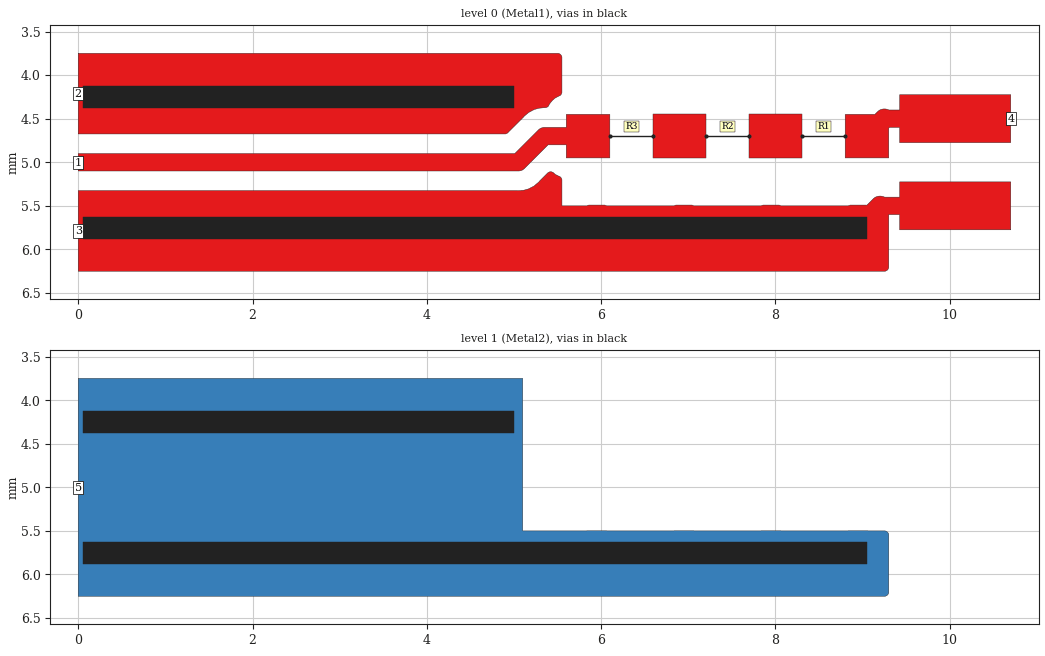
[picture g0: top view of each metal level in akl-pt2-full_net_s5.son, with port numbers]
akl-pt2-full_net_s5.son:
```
FTYP SONPROJ 18 ! Sonnet Project File
VER 17.56
HEADER
LIC antikernel2.1.50150 3cfdfeabd719 havequick azonenberg Level2Silver
DAT 12/24/2020 02:23:57
BUILT_BY_CREATED xgeom 17.56 12/23/2020 09:12:10
BUILT_BY_SAVED sonnet 17.56
MDATE 12/24/2020 02:23:57
HDATE 12/24/2020 02:23:57
ANN Created by dxfgeo, Sonnet Software Inc.
END HEADER
DIM
ANG DEG
CAP PF
CON /OH
FREQ GHZ
IND NH
LNG MM
RES OH
END DIM
CONTROL
ABS
OPTIONS  -dj
SPEED 1
CACHE_ABS 1
Q_ACC N
END CONTROL
GEO
TMET "Free Space" 0 FREESPACE 376.7303136 0 0 0
BMET "Free Space" 0 FREESPACE 376.7303136 0 0 0
MET "Copper 1oz thick" 1 TMM 58000000 0.5 0.035 2
MET "Copper 1oz" 2 NOR 58000000 0.5 0.035 
BOX 2 10.7 10 428 800 20 0
      1 1 1 0 0 0 0 "Air"
      0.1 3.5 1 0.003 0 0 0 "Polyimide"
      1 1 1 0 0 0 0 "Air"
TECHLAY METAL Metal1 L1D0 -2 0 
0 0 0 T 1218 1 1 100 100 0 0 0 Y
END
END
TECHLAY METAL Metal2 L2D0 -3 0 
1 0 1 N 1231 1 1 100 100 0 0 0 Y
END
END
TECHLAY VIA Via1 L3D0 -4 0 
VIA POLYGON
1 0 -1 N 1234 1 1 100 100 0 0 0 Y
TOLEVEL 0 RING NOCOVERS
END
END
LORGN 0 160 U 
POR1 BOX
POLY 1187 1
24
1 50 0 0 0 0 5 
POR1 BOX
POLY 1191 1
56
2 50 0 0 0 0 4.2125 
POR1 BOX
POLY 1193 1
91
3 50 0 0 0 0 5.7875 
POR1 BOX
POLY 1195 1
4
4 50 0 0 0 10.7 4.5 
POR1 BOX
POLY 1197 1
43
5 50 0 0 0 0 5 
SMD 0 "R1"
ID 1201
GNDREF AUTO
SBOX 8.425 8.675 4.6625 4.7375
PBSHW N
LPOS 8.55 4.6625
TYPE IDEAL RES 200
SMDP 0 8.8 4.7 R 6 1 
EXSMDP
GNDREF AUTO
TERMW FEED
END EXSMDP
SMDP 0 8.3 4.7 L 7 2 
EXSMDP
GNDREF AUTO
TERMW FEED
END EXSMDP
END
SMD 0 "R2"
ID 1204
GNDREF AUTO
SBOX 7.325 7.575 4.6625 4.7375
PBSHW N
LPOS 7.45 4.6625
TYPE IDEAL RES 200
SMDP 0 7.7 4.7 R 8 1 
EXSMDP
GNDREF AUTO
TERMW FEED
END EXSMDP
SMDP 0 7.2 4.7 L 9 2 
EXSMDP
GNDREF AUTO
TERMW FEED
END EXSMDP
END
SMD 0 "R3"
ID 1207
GNDREF AUTO
SBOX 6.225 6.475 4.6625 4.7375
PBSHW N
LPOS 6.35 4.6625
TYPE IDEAL RES 50
SMDP 0 6.6 4.7 R 10 1 
EXSMDP
GNDREF AUTO
TERMW FEED
END EXSMDP
SMDP 0 6.1 4.7 L 11 2 
EXSMDP
GNDREF AUTO
TERMW FEED
END EXSMDP
END
NUM 9
0 27 0 T 1187 1 1 100 100 0 0 0 Y
TLAYNAM Metal1 INH
USER_DAT FromImport
5.009 4.9
5.283 4.626
5.29 4.62
5.299 4.614
5.307 4.609
5.316 4.606
5.326 4.603
5.335 4.601
5.345 4.6
5.6 4.6
5.6 4.45
6.1 4.45
6.1 4.95
5.6 4.95
5.6 4.8
5.391 4.8
5.117 5.074
5.11 5.08
5.101 5.086
5.093 5.091
5.084 5.094
5.074 5.097
5.065 5.099
5.055 5.1
0 5.1
0 4.9
5.009 4.9
END
0 5 0 T 1189 1 1 100 100 0 0 0 Y
TLAYNAM Metal1 INH
USER_DAT FromImport
6.6 4.95
6.6 4.45
7.2 4.45
7.2 4.95
6.6 4.95
END
0 5 0 T 1190 1 1 100 100 0 0 0 Y
TLAYNAM Metal1 INH
USER_DAT FromImport
7.7 4.95
7.7 4.45
8.3 4.45
8.3 4.95
7.7 4.95
END
0 60 0 T 1191 1 1 100 100 0 0 0 Y
TLAYNAM Metal1 INH
4.907 4.674
4.912 4.672
4.916 4.67
4.921 4.668
4.929 4.662
4.932 4.659
4.935 4.655
5.102 4.489
5.109 4.482
5.115 4.474
5.119 4.47
5.171 4.427
5.23 4.396
5.232 4.395
5.285 4.38
5.334 4.375
5.339 4.375
5.343 4.374
5.363 4.374
5.368 4.373
5.373 4.371
5.377 4.369
5.382 4.367
5.39 4.361
5.393 4.358
5.399 4.35
5.401 4.345
5.403 4.341
5.405 4.336
5.408 4.33
5.443 4.288
5.471 4.264
5.512 4.242
5.516 4.24
5.517 4.24
5.521 4.238
5.526 4.236
5.534 4.23
5.537 4.227
5.543 4.219
5.545 4.214
5.547 4.21
5.549 4.205
5.55 4.2
5.55 3.793
5.549 3.788
5.547 3.783
5.545 3.779
5.543 3.774
5.537 3.766
5.534 3.763
5.526 3.757
5.521 3.755
5.517 3.753
5.512 3.751
5.507 3.75
0 3.75
0 4.675
4.902 4.675
4.907 4.674
END
0 94 0 T 1193 1 1 100 100 0 0 0 Y
TLAYNAM Metal1 INH
9.257 6.25
9.262 6.249
9.267 6.247
9.271 6.245
9.276 6.243
9.284 6.237
9.287 6.234
9.293 6.226
9.295 6.221
9.297 6.217
9.299 6.212
9.3 6.207
9.3 5.6
9.425 5.6
9.425 5.775
10.7 5.775
10.7 5.225
9.425 5.225
9.425 5.4
9.252 5.4
9.248 5.398
9.238 5.394
9.227 5.391
9.217 5.389
9.206 5.388
9.194 5.388
9.183 5.389
9.173 5.391
9.162 5.394
9.152 5.398
9.142 5.403
9.124 5.417
9.048 5.493
9.043 5.491
8.857 5.491
8.834 5.5
8.065 5.5
8.043 5.491
7.857 5.491
7.834 5.5
7.065 5.5
7.043 5.491
6.857 5.491
6.834 5.5
6.065 5.5
6.043 5.491
5.857 5.491
5.834 5.5
5.55 5.5
5.55 5.2
5.549 5.195
5.545 5.185
5.543 5.181
5.537 5.173
5.534 5.17
5.533 5.17
5.53 5.167
5.526 5.164
5.525 5.164
5.524 5.163
5.521 5.161
5.517 5.16
5.512 5.158
5.51 5.158
5.506 5.156
5.476 5.14
5.458 5.125
5.455 5.122
5.447 5.116
5.442 5.114
5.438 5.112
5.433 5.11
5.428 5.109
5.414 5.109
5.409 5.11
5.404 5.112
5.4 5.114
5.395 5.116
5.387 5.122
5.291 5.218
5.285 5.226
5.281 5.23
5.229 5.273
5.17 5.304
5.168 5.305
5.115 5.32
5.066 5.325
5.061 5.325
5.057 5.326
5.041 5.326
5.039 5.325
0 5.325
0 6.25
9.257 6.25
END
0 26 0 T 1195 1 1 100 100 0 0 0 Y
TLAYNAM Metal1 INH
9.3 4.609
9.309 4.6
9.425 4.6
9.425 4.775
10.7 4.775
10.7 4.225
9.425 4.225
9.425 4.4
9.302 4.4
9.298 4.398
9.288 4.394
9.277 4.391
9.267 4.389
9.256 4.388
9.244 4.388
9.233 4.389
9.223 4.391
9.212 4.394
9.202 4.398
9.192 4.403
9.174 4.417
9.141 4.45
8.8 4.45
8.8 4.95
9.3 4.95
9.3 4.609
END
1 46 1 N 1197 1 1 100 100 0 0 0 Y
TLAYNAM Metal2 INH
9.257 6.25
9.262 6.249
9.267 6.247
9.271 6.245
9.276 6.243
9.284 6.237
9.287 6.234
9.293 6.226
9.295 6.221
9.297 6.217
9.299 6.212
9.3 6.207
9.3 5.543
9.299 5.538
9.297 5.533
9.295 5.529
9.293 5.524
9.287 5.516
9.284 5.513
9.276 5.507
9.271 5.505
9.267 5.503
9.262 5.501
9.257 5.5
9.065 5.5
9.0625556 5.499
8.8365556 5.499
8.834 5.5
8.065 5.5
8.0625556 5.499
7.8365556 5.499
7.834 5.5
7.065 5.5
7.0625556 5.499
6.8365556 5.499
6.834 5.5
6.065 5.5
6.0625556 5.499
5.8365556 5.499
5.834 5.5
5.1 5.5
5.1 4.025
5.1 3.75
0 3.75
0 6.25
9.257 6.25
END
VIA POLYGON
1 5 -1 N 1199 1 1 100 100 0 0 0 Y
TOLEVEL 0 RING NOCOVERS
TLAYNAM Via1 INH
USER_DAT FromImport
5 4.125
5 4.375
0.05 4.375
0.05 4.125
5 4.125
END
VIA POLYGON
1 5 -1 N 1200 1 1 100 100 0 0 0 Y
TOLEVEL 0 RING NOCOVERS
TLAYNAM Via1 INH
USER_DAT FromImport
9.05 5.625
9.05 5.875
0.05 5.875
0.05 5.625
9.05 5.625
END
END GEO
OPT
MAX 100
END OPT
VARSWP
ENABLED Y
FREQ Y AY ABS_ENTRY 0.1 10.0 -1 300 
END
END VARSWP
```
